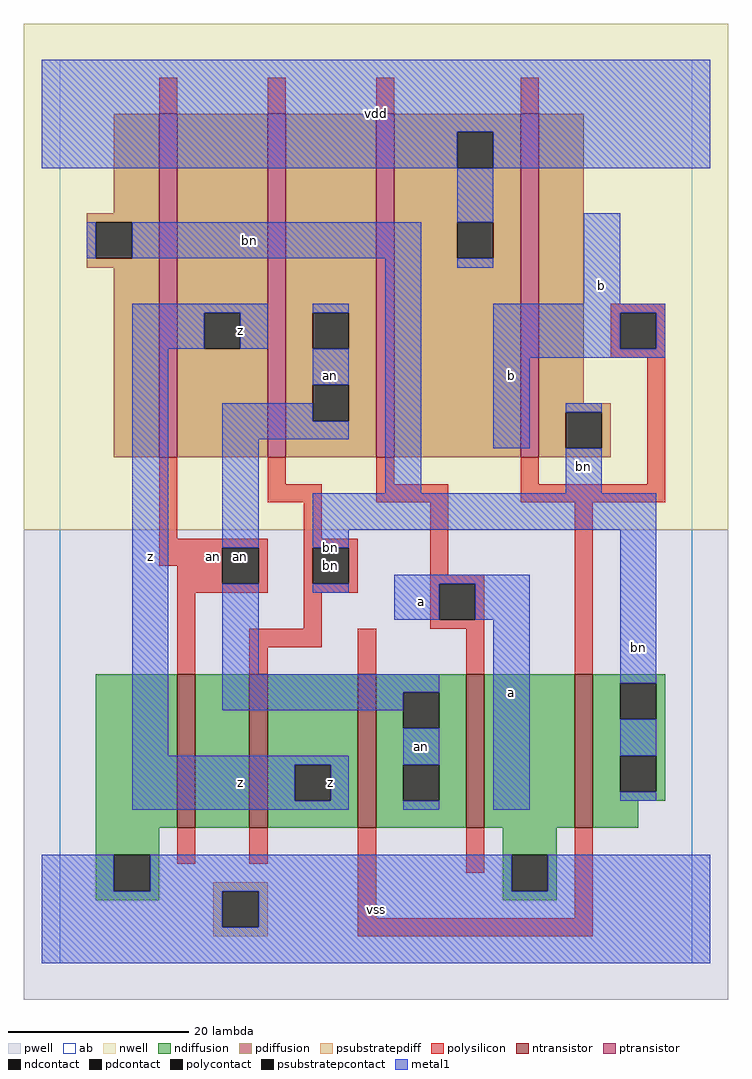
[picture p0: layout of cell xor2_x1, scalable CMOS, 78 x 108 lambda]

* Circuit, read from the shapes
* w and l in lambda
.subckt xor2_x1 a an b bn vdd vss z
M1 n1 an vss vss nfet w=17 l=2
M2 z bn n1 vss nfet w=17 l=2
M3 an b z vss nfet w=17 l=2
M4 vss a an vss nfet w=17 l=2
M5 bn b vss vss nfet w=17 l=2
M6 z an bn n2 pfet w=38 l=2
M7 an bn z n2 pfet w=38 l=2
M8 vdd a an n2 pfet w=38 l=2
M9 bn b vdd n2 pfet w=38 l=2
.ends

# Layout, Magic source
magic
tech scmos
<< ab >>
rect 0 0 70 100
<< pwell >>
rect -4 -4 74 48
<< nwell >>
rect -4 48 74 104
<< polysilicon >>
rect 11 94 13 98
rect 23 94 25 98
rect 35 94 37 98
rect 51 94 53 98
rect 61 72 67 73
rect 61 68 62 72
rect 66 68 67 72
rect 61 67 67 68
rect 11 47 13 56
rect 23 53 25 56
rect 35 53 37 56
rect 51 53 53 56
rect 65 53 67 67
rect 23 51 29 53
rect 35 51 43 53
rect 51 51 67 53
rect 27 47 29 51
rect 11 46 23 47
rect 11 44 18 46
rect 13 42 18 44
rect 22 42 23 46
rect 13 41 23 42
rect 27 46 33 47
rect 27 42 28 46
rect 32 42 33 46
rect 27 41 33 42
rect 41 43 43 51
rect 41 42 47 43
rect 13 32 15 41
rect 27 37 29 41
rect 41 38 42 42
rect 46 38 47 42
rect 41 37 47 38
rect 21 35 29 37
rect 21 32 23 35
rect 33 32 35 37
rect 45 32 47 37
rect 57 32 59 51
rect 13 11 15 15
rect 21 11 23 15
rect 33 5 35 15
rect 45 10 47 15
rect 57 5 59 15
rect 33 3 59 5
<< ndiffusion >>
rect 4 15 13 32
rect 15 15 21 32
rect 23 22 33 32
rect 23 18 26 22
rect 30 18 33 22
rect 23 15 33 18
rect 35 30 45 32
rect 35 26 38 30
rect 42 26 45 30
rect 35 22 45 26
rect 35 18 38 22
rect 42 18 45 22
rect 35 15 45 18
rect 47 15 57 32
rect 59 31 67 32
rect 59 27 62 31
rect 66 27 67 31
rect 59 23 67 27
rect 59 19 62 23
rect 66 19 67 23
rect 59 18 67 19
rect 59 15 64 18
rect 4 12 11 15
rect 4 8 6 12
rect 10 8 11 12
rect 4 7 11 8
rect 49 12 55 15
rect 49 8 50 12
rect 54 8 55 12
rect 49 7 55 8
<< pdiffusion >>
rect 6 83 11 94
rect 3 82 11 83
rect 3 78 4 82
rect 8 78 11 82
rect 3 77 11 78
rect 6 56 11 77
rect 13 72 23 94
rect 13 68 16 72
rect 20 68 23 72
rect 13 56 23 68
rect 25 72 35 94
rect 25 68 28 72
rect 32 68 35 72
rect 25 64 35 68
rect 25 60 28 64
rect 32 60 35 64
rect 25 56 35 60
rect 37 92 51 94
rect 37 88 44 92
rect 48 88 51 92
rect 37 82 51 88
rect 37 78 44 82
rect 48 78 51 82
rect 37 56 51 78
rect 53 62 58 94
rect 53 61 61 62
rect 53 57 56 61
rect 60 57 61 61
rect 53 56 61 57
<< metal1 >>
rect -2 92 72 100
rect -2 88 44 92
rect 48 88 72 92
rect 44 82 48 88
rect 3 78 4 82
rect 8 78 40 82
rect 8 72 23 73
rect 8 68 16 72
rect 20 68 23 72
rect 28 72 32 73
rect 8 23 12 68
rect 28 64 32 68
rect 18 60 28 62
rect 18 58 32 60
rect 18 46 22 58
rect 36 52 40 78
rect 44 77 48 78
rect 58 73 62 83
rect 48 72 67 73
rect 48 68 62 72
rect 66 68 67 72
rect 48 67 67 68
rect 48 57 52 67
rect 56 61 60 62
rect 56 52 60 57
rect 18 32 22 42
rect 28 48 66 52
rect 28 46 32 48
rect 28 41 32 42
rect 37 42 52 43
rect 37 38 42 42
rect 46 38 52 42
rect 18 30 42 32
rect 18 28 38 30
rect 8 22 32 23
rect 8 18 26 22
rect 30 18 32 22
rect 8 17 32 18
rect 38 22 42 26
rect 38 17 42 18
rect 48 17 52 38
rect 62 31 66 48
rect 62 23 66 27
rect 62 18 66 19
rect -2 8 6 12
rect 10 8 50 12
rect 54 8 72 12
rect -2 4 18 8
rect 22 4 72 8
rect -2 0 72 4
<< ntransistor >>
rect 13 15 15 32
rect 21 15 23 32
rect 33 15 35 32
rect 45 15 47 32
rect 57 15 59 32
<< ptransistor >>
rect 11 56 13 94
rect 23 56 25 94
rect 35 56 37 94
rect 51 56 53 94
<< polycontact >>
rect 62 68 66 72
rect 18 42 22 46
rect 28 42 32 46
rect 42 38 46 42
<< ndcontact >>
rect 26 18 30 22
rect 38 26 42 30
rect 38 18 42 22
rect 62 27 66 31
rect 62 19 66 23
rect 6 8 10 12
rect 50 8 54 12
<< pdcontact >>
rect 4 78 8 82
rect 16 68 20 72
rect 28 68 32 72
rect 28 60 32 64
rect 44 88 48 92
rect 44 78 48 82
rect 56 57 60 61
<< psubstratepcontact >>
rect 18 4 22 8
<< psubstratepdiff >>
rect 17 8 23 9
rect 17 4 18 8
rect 22 4 23 8
rect 17 3 23 4
<< labels >>
rlabel polysilicon 17 45 17 45 6 an
rlabel polycontact 30 44 30 44 6 bn
rlabel metal1 10 45 10 45 6 z
rlabel metal1 20 20 20 20 6 z
rlabel metal1 30 20 30 20 6 z
rlabel metal1 30 46 30 46 6 bn
rlabel polycontact 20 45 20 45 6 an
rlabel metal1 20 70 20 70 6 z
rlabel metal1 30 65 30 65 6 an
rlabel metal1 35 6 35 6 6 vss
rlabel metal1 40 24 40 24 6 an
rlabel metal1 50 30 50 30 6 a
rlabel metal1 40 40 40 40 6 a
rlabel metal1 50 65 50 65 6 b
rlabel metal1 35 94 35 94 6 vdd
rlabel metal1 21 80 21 80 6 bn
rlabel metal1 58 55 58 55 6 bn
rlabel metal1 64 35 64 35 6 bn
rlabel metal1 60 75 60 75 6 b
<< end >>
